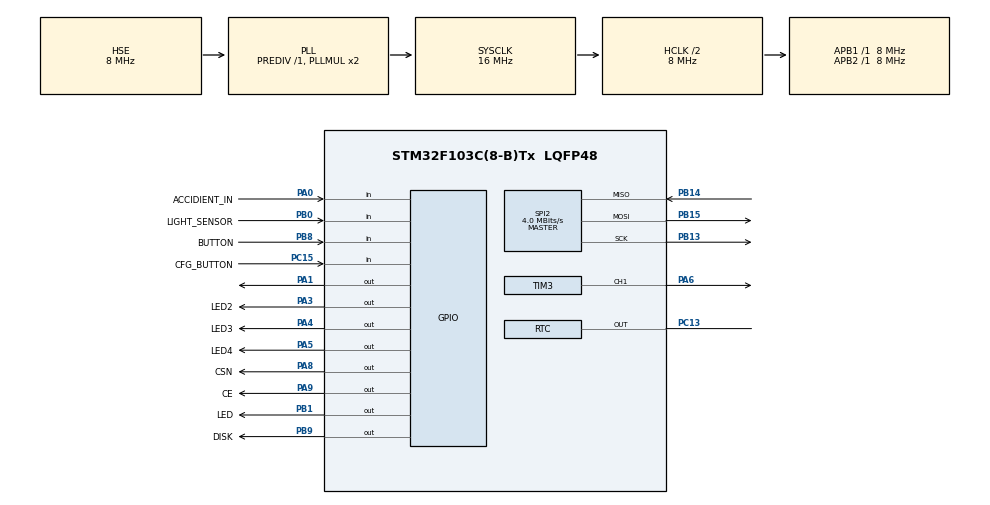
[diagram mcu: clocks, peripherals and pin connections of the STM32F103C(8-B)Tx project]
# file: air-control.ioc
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Mcu.Family=STM32F1
Mcu.Name=STM32F103C(8-B)Tx
Mcu.Package=LQFP48
NVIC.PriorityGroup=NVIC_PRIORITYGROUP_4
NVIC.RCC_IRQn=true\:0\:0\:false
NVIC.TIM3_IRQn=true\:0\:0\:false
PA0-WKUP.GPIO_Label=ACCIDIENT_IN
PA0-WKUP.GPIO_Mode=GPIO_MODE_INPUT
PA0-WKUP.GPIO_PuPd=GPIO_PULLDOWN
PA0-WKUP.Signal=GPIO_Input
PA1.GPIO_ModeDefaultOutputPP=GPIO_MODE_OUTPUT_PP
PA1.GPIO_Speed=GPIO_SPEED_LOW
PA1.Signal=GPIO_Output
PA13.Mode=Serial_Wire
PA13.Signal=SYS_JTMS-SWDIO
PA14.Mode=Serial_Wire
PA14.Signal=SYS_JTCK-SWCLK
PA3.GPIO_Label=LED2
PA3.GPIO_ModeDefaultOutputPP=GPIO_MODE_OUTPUT_PP
PA3.GPIO_Speed=GPIO_SPEED_LOW
PA3.Signal=GPIO_Output
PA4.GPIO_Label=LED3
PA4.GPIO_ModeDefaultOutputPP=GPIO_MODE_OUTPUT_PP
PA4.GPIO_Speed=GPIO_SPEED_LOW
PA4.Signal=GPIO_Output
PA5.GPIO_Label=LED4
PA5.GPIO_ModeDefaultOutputPP=GPIO_MODE_OUTPUT_PP
PA5.GPIO_Speed=GPIO_SPEED_LOW
PA5.Signal=GPIO_Output
PA6.GPIO_ModeDefaultPP=GPIO_MODE_AF_PP
PA6.GPIO_Speed=GPIO_SPEED_HIGH
PA6.Signal=S_TIM3_CH1
PA8.GPIO_Label=CSN
PA8.GPIO_ModeDefaultOutputPP=GPIO_MODE_OUTPUT_PP
PA8.GPIO_Speed=GPIO_SPEED_LOW
PA8.Signal=GPIO_Output
PA9.GPIO_Label=CE
PA9.GPIO_ModeDefaultOutputPP=GPIO_MODE_OUTPUT_PP
PA9.GPIO_Speed=GPIO_SPEED_LOW
PA9.Signal=GPIO_Output
PB0.GPIO_Label=LIGHT_SENSOR
PB0.GPIO_Mode=GPIO_MODE_INPUT
PB0.GPIO_PuPd=GPIO_NOPULL
PB0.Signal=GPIO_Input
PB1.GPIO_Label=LED
PB1.GPIO_ModeDefaultOutputPP=GPIO_MODE_OUTPUT_PP
PB1.GPIO_Speed=GPIO_SPEED_LOW
PB1.Signal=GPIO_Output
PB13.Mode=Full_Duplex_Master
PB13.Signal=SPI2_SCK
PB14.Mode=Full_Duplex_Master
PB14.Signal=SPI2_MISO
PB15.Mode=Full_Duplex_Master
PB15.Signal=SPI2_MOSI
PB8.GPIO_Label=BUTTON
PB8.GPIO_Mode=GPIO_MODE_INPUT
PB8.GPIO_PuPd=GPIO_NOPULL
PB8.Signal=GPIO_Input
PB9.GPIO_Label=DISK
PB9.GPIO_ModeDefaultOutputPP=GPIO_MODE_OUTPUT_OD
PB9.GPIO_Speed=GPIO_SPEED_LOW
PB9.Signal=GPIO_Output
PC13-TAMPER-RTC.Mode=RTC OUT
PC13-TAMPER-RTC.Signal=RTC_OUT
PC15-OSC32_OUT.GPIO_Label=CFG_BUTTON
PC15-OSC32_OUT.GPIO_Mode=GPIO_MODE_INPUT
PC15-OSC32_OUT.GPIO_PuPd=GPIO_PULLUP
PC15-OSC32_OUT.Signal=GPIO_Input
PD0-OSC_IN.Mode=HSE-External-Oscillator
PD0-OSC_IN.Signal=RCC_OSC_IN
PD1-OSC_OUT.Mode=HSE-External-Oscillator
PD1-OSC_OUT.Signal=RCC_OSC_OUT
ProjectManager.TargetToolchain=MDK-ARM V5
RCC.ADCPresc=RCC_ADCPCLK2_DIV6
RCC.AHBCLKDivider=RCC_SYSCLK_DIV2
RCC.AHBFreq_Value=8000000
RCC.APB1Freq_Value=8000000
RCC.APB1TimFreq_Value=8000000
RCC.APB2Freq_Value=8000000
RCC.APB2TimFreq_Value=8000000
RCC.HCLKFreq_Value=8000000
RCC.PLLSource=RCC_PLLSOURCE_HSE
RCC.PLLSourceVirtual=RCC_PLLSOURCE_HSE
RCC.SYSCLKFreq_VALUE=16000000
RCC.SYSCLKSource=RCC_SYSCLKSOURCE_PLLCLK
RCC.USBFreq_Value=16000000
RCC.VDD_VALUE=3.3
SH.S_TIM3_CH1.0=TIM3_CH1,PWM Generation1 CH1
SPI2.BaudRatePrescaler=SPI_BAUDRATEPRESCALER_2
SPI2.CalculateBaudRate=4.0 MBits/s
SPI2.Mode=SPI_MODE_MASTER
TIM3.OCMode_PWM-PWM\ Generation1\ CH1=TIM_OCMODE_PWM1
TIM3.Period=65535
TIM3.Prescaler=0
TIM3.Pulse-PWM\ Generation1\ CH1=0
VP_TIM3_VS_ClockSourceINT.Mode=Internal

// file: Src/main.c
/**
  ******************************************************************************
  * File Name          : main.c
  * Date               : 15/12/2015 22:57:21
  * Description        : Main program body
  ******************************************************************************
  *
  * COPYRIGHT(c) 2015 STMicroelectronics
  *
  * Redistribution and use in source and binary forms, with or without modification,
  * are permitted provided that the following conditions are met:
  *   1. Redistributions of source code must retain the above copyright notice,
  *      this list of conditions and the following disclaimer.
  *   2. Redistributions in binary form must reproduce the above copyright notice,
  *      this list of conditions and the following disclaimer in the documentation
  *      and/or other materials provided with the distribution.
  *   3. Neither the name of STMicroelectronics nor the names of its contributors
  *      may be used to endorse or promote products derived from this software
  *      without specific prior written permission.
  *
  * THIS SOFTWARE IS PROVIDED BY THE COPYRIGHT HOLDERS AND CONTRIBUTORS "AS IS"
  * AND ANY EXPRESS OR IMPLIED WARRANTIES, INCLUDING, BUT NOT LIMITED TO, THE
  * IMPLIED WARRANTIES OF MERCHANTABILITY AND FITNESS FOR A PARTICULAR PURPOSE ARE
  * DISCLAIMED. IN NO EVENT SHALL THE COPYRIGHT HOLDER OR CONTRIBUTORS BE LIABLE
  * FOR ANY DIRECT, INDIRECT, INCIDENTAL, SPECIAL, EXEMPLARY, OR CONSEQUENTIAL
  * DAMAGES (INCLUDING, BUT NOT LIMITED TO, PROCUREMENT OF SUBSTITUTE GOODS OR
  * SERVICES; LOSS OF USE, DATA, OR PROFITS; OR BUSINESS INTERRUPTION) HOWEVER
  * CAUSED AND ON ANY THEORY OF LIABILITY, WHETHER IN CONTRACT, STRICT LIABILITY,
  * OR TORT (INCLUDING NEGLIGENCE OR OTHERWISE) ARISING IN ANY WAY OUT OF THE USE
  * OF THIS SOFTWARE, EVEN IF ADVISED OF THE POSSIBILITY OF SUCH DAMAGE.
  *
  ******************************************************************************
  */

#include "stm32f1xx_hal.h"

/* USER CODE BEGIN Includes */
#include "nrf24.h"
#include "aes.h"
#include <stdio.h>
#include <stdlib.h>
#include "encrypted_block.h"
#include "nrf24_address_cfg.h"
/* USER CODE END Includes */

RTC_HandleTypeDef hrtc;

SPI_HandleTypeDef hspi2;

TIM_HandleTypeDef htim3;

void SystemClock_Config(void);
static void MX_GPIO_Init(void);
static void MX_RTC_Init(void);
static void MX_SPI2_Init(void);
static void MX_TIM3_Init(void);

/* USER CODE BEGIN 0 */

void deinit()
{
	GPIO_InitTypeDef GPIO_InitStruct;

  GPIO_InitStruct.Pin = GPIO_PIN_0|GPIO_PIN_1|GPIO_PIN_2|GPIO_PIN_3|GPIO_PIN_4
												|GPIO_PIN_5|GPIO_PIN_6|GPIO_PIN_7|GPIO_PIN_8
                        |GPIO_PIN_9|GPIO_PIN_10|GPIO_PIN_11|GPIO_PIN_12
                        |GPIO_PIN_13|GPIO_PIN_14|GPIO_PIN_15;
  GPIO_InitStruct.Mode = GPIO_MODE_ANALOG;
  HAL_GPIO_Init(GPIOA, &GPIO_InitStruct);
	HAL_GPIO_Init(GPIOB, &GPIO_InitStruct);
	HAL_GPIO_Init(GPIOC, &GPIO_InitStruct);
}

aes128_ctx_t AES_ctx;

uint8_t phrase[16];

typedef struct QMTT_Message
{
	char * topic;
	char * value;
} QMTT_Message;

QMTT_Message QMTT_Get(EncryptedBlock * encryptedBlock)
{
	int topic_len=strlen((char*)encryptedBlock->data);
	char * value=(char*)encryptedBlock->data+topic_len+1;

	QMTT_Message message;
	message.topic=(char*)encryptedBlock->data;
	message.value=value;

	return message;
}

const static uint8_t deviceId=1;
static uint8_t UD1_address[5] =  {deviceId,0xF7,0xF7,0xF7,0xF7};
static uint32_t switches_states;
static uint32_t switches_count=4;

static uint16_t dimmer_values[1] = {0};
static uint32_t dimmers_count=1;

static uint8_t sun_mode=0; //0 - off, 1 - sunrise, 2 - sunset

#define ON_QMTT_string "ON"
#define OFF_QMTT_string "OFF"
#define SWITCH_QMTT_string "UD"
#define DIMMER_QMTT_string "DM"
#define SUN_QMTT_string "SN"

static char in_topic[]="/myhome/in";
static char out_topic[]="/myhome/out";

typedef struct
{
	GPIO_TypeDef* GPIOx;
	uint16_t GPIO_Pin;
} SwitchPinAdress;

static SwitchPinAdress switchesMap[32]=
{
	{GPIOB,GPIO_PIN_1},
	{GPIOA,GPIO_PIN_3},
	{GPIOA,GPIO_PIN_4},
	{GPIOA,GPIO_PIN_5}

};

uint64_t getXPow(uint64_t x)
{
	uint64_t temp_val=x*x*x>>32;

	if(x>0 && temp_val==0)return 1;
	return temp_val;
}

void refreshHardwareState()
{
	for(int i=0;i<switches_count;i++)
	{
		GPIO_PinState pinstate;
		if(1&(switches_states>>i)){
			pinstate=GPIO_PIN_SET;
		}else{
			pinstate=GPIO_PIN_RESET;
		};

		HAL_GPIO_WritePin(switchesMap[i].GPIOx, switchesMap[i].GPIO_Pin, pinstate);
	}

	if(dimmers_count>0){
		TIM3->CCR1=getXPow(dimmer_values[0]);
	}

}

void sendSwitchStateToQMTTServer(const char * param, uint8_t switch_no, uint8_t value)
{
		char topic[32];
		char message_on[]=ON_QMTT_string;
		char message_off[]=OFF_QMTT_string;
		char * message;

		sprintf(topic, "%s%d_%d", param, deviceId, switch_no);
		if(value){
			message=message_on;
		}else{
			message=message_off;
		};

		QMTT_SendTextMessage(topic, message, UD1_address, &AES_ctx);
}

void sendDimerStateToQMTTServer(const char * param, uint8_t dimmer_no, uint16_t value)
{
		char topic[32];
		char message[32];
		sprintf(topic, "%s%d_%d", param, deviceId, dimmer_no);
		sprintf(message, "%d", value);
		QMTT_SendTextMessage(topic, message, UD1_address, &AES_ctx);
}

void sendFullStatesToQMTTServer()
{
	QMTT_SendOutTopic(out_topic, UD1_address, &AES_ctx);
	QMTT_SendInTopic(in_topic, UD1_address, &AES_ctx);

	for(int i=0;i<switches_count;i++)
	{
		sendSwitchStateToQMTTServer(SWITCH_QMTT_string, i, (switches_states>>i)&1);
	}

	for(int i=0;i<dimmers_count;i++)
	{
		sendDimerStateToQMTTServer(DIMMER_QMTT_string, i, dimmer_values[i]*100/65535 );
	}

	sendSwitchStateToQMTTServer(SUN_QMTT_string, 0, sun_mode);
	nrf24_powerUpRx();

}

void interpretateQMTTMessage(char * topic, char * value)
{
	char temp[32];

	for(int i=0;i<switches_count;i++)
	{
		sprintf(temp, "%s%d_%d", SWITCH_QMTT_string, deviceId, i);
		if(strcmp(topic, temp)==0)
		{
			if(strcmp(value, ON_QMTT_string)==0)
			{
				switches_states|=(1<<i);
			}
			else if(strcmp(value, OFF_QMTT_string)==0)
			{
				switches_states&=~(1<<i);
			}
		}
	}

	for(int i=0;i<dimmers_count;i++)
	{
		sprintf(temp, "%s%d_%d", DIMMER_QMTT_string, deviceId, i);

		if(strcmp(topic, temp)==0)
		{
			uint16_t val=atoi(value);
			dimmer_values[i]=65535*val/100;
		}
	}

	char temp2[32];
	sprintf(temp2, "%s%d_0", SUN_QMTT_string, deviceId);

	if(strcmp(topic, temp2)==0)
	{
		if(strcmp(value, ON_QMTT_string)==0)
		{
			sun_mode=1;
		}
		else if(strcmp(value, OFF_QMTT_string)==0)
		{
			sun_mode=2;
		}
	}
}

uint16_t mod(int32_t v1)
{
	if(v1<0)return -v1;
	return v1;
}

/* USER CODE END 0 */

int main(void)
{

  /* MCU Configuration----------------------------------------------------------*/

  /* Reset of all peripherals, Initializes the Flash interface and the Systick. */
  HAL_Init();

  /* Configure the system clock */
  SystemClock_Config();

  /* Initialize all configured peripherals */
  MX_GPIO_Init();
  MX_RTC_Init();
  MX_SPI2_Init();
  MX_TIM3_Init();
  /* USER CODE BEGIN 2 */

	aes128_init(AES_key, &AES_ctx);

	nrf24_init(&hspi2);
	nrf24_config(99,32);

	nrf24_rx_address(RX_ADDR_P1, UD1_address);
	nrf24_tx_address(openhab_gate_address_pipe1);

	uint32_t last_MQTT_send=0;

	HAL_TIM_Base_Start(&htim3);
	HAL_TIM_PWM_Start(&htim3, TIM_CHANNEL_1);

	nrf24_powerUpRx();

	uint32_t last_dimmer_operation=HAL_GetTick();

	uint16_t last_dimmer_val=0;

  /* USER CODE END 2 */

  /* Infinite loop */
  /* USER CODE BEGIN WHILE */
  while (1)
  {
		uint32_t cut_tick=HAL_GetTick();

		if(cut_tick-last_dimmer_operation>30)
		{
			last_dimmer_operation=cut_tick;

			if(sun_mode==1)
			{
				if(dimmer_values[0]==0xffff){
					sun_mode=0;
				}
				else{
					dimmer_values[0]+=1;
				}
			}
			if(sun_mode==2)
			{
				if(dimmer_values[0]==0){
					sun_mode=0;
				}else{
					dimmer_values[0]-=1;
				}
			}
		}

		if(mod(last_dimmer_val-dimmer_values[0])>6553 || (dimmer_values[0]==0xffff && last_dimmer_val-dimmer_values[0]!=0) || (dimmer_values[0]==0 && last_dimmer_val-dimmer_values[0]!=0))
		{
			last_dimmer_val=dimmer_values[0];

			for(int i=0;i<dimmers_count;i++)
			{
				sendDimerStateToQMTTServer(DIMMER_QMTT_string, i, dimmer_values[i]*100/65535 );
			}
			nrf24_powerUpRx();
		}

		if((cut_tick-last_MQTT_send>60000)||(last_MQTT_send==0))
		{
			last_MQTT_send=cut_tick;
			sendFullStatesToQMTTServer();
		}

		if(HAL_GPIO_ReadPin(GPIOB, GPIO_PIN_8)==GPIO_PIN_SET) //onboard button pressed
		{
			char temp[32];
			sprintf(temp, "%s%d_0", SWITCH_QMTT_string, deviceId);
			if(HAL_GPIO_ReadPin(GPIOB, GPIO_PIN_1)==GPIO_PIN_SET)
			{
				QMTT_SendTextMessage(temp, OFF_QMTT_string, UD1_address, &AES_ctx);
				interpretateQMTTMessage(temp, OFF_QMTT_string);
			}
			else
			{
				QMTT_SendTextMessage(temp, ON_QMTT_string, UD1_address, &AES_ctx);
				interpretateQMTTMessage(temp, ON_QMTT_string);
			}

			while((HAL_GPIO_ReadPin(GPIOB, GPIO_PIN_8)==GPIO_PIN_SET)){};
		}

		if(nrf24_dataReady())
    {
			EncryptedBlock encryptedBlock;
			uint8_t pipeNo=nrf24_dataReadyPipeNo();
			nrf24_getData((uint8_t*)&encryptedBlock);
			aes128_dec((uint8_t*)&encryptedBlock, &AES_ctx);
			aes128_dec((uint8_t*)&encryptedBlock+16, &AES_ctx);

			QMTT_Message qmtt_message=QMTT_Get(&encryptedBlock);

			interpretateQMTTMessage(qmtt_message.topic, qmtt_message.value);
		}

		refreshHardwareState();

  /* USER CODE END WHILE */

  }

}

/** System Clock Configuration
*/
void SystemClock_Config(void)
{

  RCC_OscInitTypeDef RCC_OscInitStruct;
  RCC_ClkInitTypeDef RCC_ClkInitStruct;
  RCC_PeriphCLKInitTypeDef PeriphClkInit;

  RCC_OscInitStruct.OscillatorType = RCC_OSCILLATORTYPE_LSI|RCC_OSCILLATORTYPE_HSE;
  RCC_OscInitStruct.HSEState = RCC_HSE_ON;
  RCC_OscInitStruct.HSEPredivValue = RCC_HSE_PREDIV_DIV1;
  RCC_OscInitStruct.LSIState = RCC_LSI_ON;
  RCC_OscInitStruct.PLL.PLLState = RCC_PLL_ON;
  RCC_OscInitStruct.PLL.PLLSource = RCC_PLLSOURCE_HSE;
  RCC_OscInitStruct.PLL.PLLMUL = RCC_PLL_MUL2;
  HAL_RCC_OscConfig(&RCC_OscInitStruct);

  RCC_ClkInitStruct.ClockType = RCC_CLOCKTYPE_HCLK|RCC_CLOCKTYPE_SYSCLK;
  RCC_ClkInitStruct.SYSCLKSource = RCC_SYSCLKSOURCE_PLLCLK;
  RCC_ClkInitStruct.AHBCLKDivider = RCC_SYSCLK_DIV2;
  RCC_ClkInitStruct.APB1CLKDivider = RCC_HCLK_DIV1;
  RCC_ClkInitStruct.APB2CLKDivider = RCC_HCLK_DIV1;
  HAL_RCC_ClockConfig(&RCC_ClkInitStruct, FLASH_LATENCY_0);

  PeriphClkInit.PeriphClockSelection = RCC_PERIPHCLK_RTC;
  PeriphClkInit.RTCClockSelection = RCC_RTCCLKSOURCE_LSI;
  HAL_RCCEx_PeriphCLKConfig(&PeriphClkInit);

}

/* RTC init function */
void MX_RTC_Init(void)
{

  RTC_TimeTypeDef sTime;
  RTC_DateTypeDef DateToUpdate;

    /**Initialize RTC and set the Time and Date
    */
  hrtc.Instance = RTC;
  hrtc.Init.AsynchPrediv = RTC_AUTO_1_SECOND;
  hrtc.Init.OutPut = RTC_OUTPUTSOURCE_NONE;
  hrtc.DateToUpdate.WeekDay = RTC_WEEKDAY_MONDAY;
  hrtc.DateToUpdate.Month = RTC_MONTH_JANUARY;
  hrtc.DateToUpdate.Date = 1;
  hrtc.DateToUpdate.Year = 0;
  HAL_RTC_Init(&hrtc);

  sTime.Hours = 0;
  sTime.Minutes = 0;
  sTime.Seconds = 0;
  HAL_RTC_SetTime(&hrtc, &sTime, FORMAT_BCD);

  HAL_RTC_SetDate(&hrtc, &DateToUpdate, FORMAT_BCD);

}

/* SPI2 init function */
void MX_SPI2_Init(void)
{

  hspi2.Instance = SPI2;
  hspi2.Init.Mode = SPI_MODE_MASTER;
  hspi2.Init.Direction = SPI_DIRECTION_2LINES;
  hspi2.Init.DataSize = SPI_DATASIZE_8BIT;
  hspi2.Init.CLKPolarity = SPI_POLARITY_LOW;
  hspi2.Init.CLKPhase = SPI_PHASE_1EDGE;
  hspi2.Init.NSS = SPI_NSS_SOFT;
  hspi2.Init.BaudRatePrescaler = SPI_BAUDRATEPRESCALER_2;
  hspi2.Init.FirstBit = SPI_FIRSTBIT_MSB;
  hspi2.Init.TIMode = SPI_TIMODE_DISABLED;
  hspi2.Init.CRCCalculation = SPI_CRCCALCULATION_DISABLED;
  HAL_SPI_Init(&hspi2);

}

/* TIM3 init function */
void MX_TIM3_Init(void)
{

  TIM_ClockConfigTypeDef sClockSourceConfig;
  TIM_MasterConfigTypeDef sMasterConfig;
  TIM_OC_InitTypeDef sConfigOC;

  htim3.Instance = TIM3;
  htim3.Init.Prescaler = 0;
  htim3.Init.CounterMode = TIM_COUNTERMODE_UP;
  htim3.Init.Period = 65535;
  htim3.Init.ClockDivision = TIM_CLOCKDIVISION_DIV1;
  HAL_TIM_Base_Init(&htim3);

  sClockSourceConfig.ClockSource = TIM_CLOCKSOURCE_INTERNAL;
  HAL_TIM_ConfigClockSource(&htim3, &sClockSourceConfig);

  HAL_TIM_PWM_Init(&htim3);

  sMasterConfig.MasterOutputTrigger = TIM_TRGO_RESET;
  sMasterConfig.MasterSlaveMode = TIM_MASTERSLAVEMODE_DISABLE;
  HAL_TIMEx_MasterConfigSynchronization(&htim3, &sMasterConfig);

  sConfigOC.OCMode = TIM_OCMODE_PWM1;
  sConfigOC.Pulse = 0;
  sConfigOC.OCPolarity = TIM_OCPOLARITY_HIGH;
  sConfigOC.OCFastMode = TIM_OCFAST_DISABLE;
  HAL_TIM_PWM_ConfigChannel(&htim3, &sConfigOC, TIM_CHANNEL_1);

}

/** Configure pins as
        * Analog
        * Input
        * Output
        * EVENT_OUT
        * EXTI
        * Free pins are configured automatically as Analog (this feature is enabled through
        * the Code Generation settings)
*/
void MX_GPIO_Init(void)
{

  GPIO_InitTypeDef GPIO_InitStruct;

  /* GPIO Ports Clock Enable */
  __GPIOC_CLK_ENABLE();
  __GPIOD_CLK_ENABLE();
  __GPIOA_CLK_ENABLE();
  __GPIOB_CLK_ENABLE();

  /*Configure GPIO pin : PC14 */
  GPIO_InitStruct.Pin = GPIO_PIN_14;
  GPIO_InitStruct.Mode = GPIO_MODE_ANALOG;
  HAL_GPIO_Init(GPIOC, &GPIO_InitStruct);

  /*Configure GPIO pin : PC15 */
  GPIO_InitStruct.Pin = GPIO_PIN_15;
  GPIO_InitStruct.Mode = GPIO_MODE_INPUT;
  GPIO_InitStruct.Pull = GPIO_PULLUP;
  HAL_GPIO_Init(GPIOC, &GPIO_InitStruct);

  /*Configure GPIO pin : PA0 */
  GPIO_InitStruct.Pin = GPIO_PIN_0;
  GPIO_InitStruct.Mode = GPIO_MODE_INPUT;
  GPIO_InitStruct.Pull = GPIO_PULLDOWN;
  HAL_GPIO_Init(GPIOA, &GPIO_InitStruct);

  /*Configure GPIO pins : PA1 PA3 PA4 PA5
                           PA8 PA9 */
  GPIO_InitStruct.Pin = GPIO_PIN_1|GPIO_PIN_3|GPIO_PIN_4|GPIO_PIN_5
                          |GPIO_PIN_8|GPIO_PIN_9;
  GPIO_InitStruct.Mode = GPIO_MODE_OUTPUT_PP;
  GPIO_InitStruct.Speed = GPIO_SPEED_LOW;
  HAL_GPIO_Init(GPIOA, &GPIO_InitStruct);

  /*Configure GPIO pins : PA2 PA7 PA10 PA11
                           PA12 PA15 */
  GPIO_InitStruct.Pin = GPIO_PIN_2|GPIO_PIN_7|GPIO_PIN_10|GPIO_PIN_11
                          |GPIO_PIN_12|GPIO_PIN_15;
  GPIO_InitStruct.Mode = GPIO_MODE_ANALOG;
  HAL_GPIO_Init(GPIOA, &GPIO_InitStruct);

  /*Configure GPIO pins : PB0 PB8 */
  GPIO_InitStruct.Pin = GPIO_PIN_0|GPIO_PIN_8;
  GPIO_InitStruct.Mode = GPIO_MODE_INPUT;
  GPIO_InitStruct.Pull = GPIO_NOPULL;
  HAL_GPIO_Init(GPIOB, &GPIO_InitStruct);

  /*Configure GPIO pin : PB1 */
  GPIO_InitStruct.Pin = GPIO_PIN_1;
  GPIO_InitStruct.Mode = GPIO_MODE_OUTPUT_PP;
  GPIO_InitStruct.Speed = GPIO_SPEED_LOW;
  HAL_GPIO_Init(GPIOB, &GPIO_InitStruct);

  /*Configure GPIO pins : PB2 PB10 PB11 PB12
                           PB3 PB4 PB5 PB6
                           PB7 */
  GPIO_InitStruct.Pin = GPIO_PIN_2|GPIO_PIN_10|GPIO_PIN_11|GPIO_PIN_12
                          |GPIO_PIN_3|GPIO_PIN_4|GPIO_PIN_5|GPIO_PIN_6
                          |GPIO_PIN_7;
  GPIO_InitStruct.Mode = GPIO_MODE_ANALOG;
  HAL_GPIO_Init(GPIOB, &GPIO_InitStruct);

  /*Configure GPIO pin : PB9 */
  GPIO_InitStruct.Pin = GPIO_PIN_9;
  GPIO_InitStruct.Mode = GPIO_MODE_OUTPUT_OD;
  GPIO_InitStruct.Speed = GPIO_SPEED_LOW;
  HAL_GPIO_Init(GPIOB, &GPIO_InitStruct);

}

/************************ (C) COPYRIGHT STMicroelectronics *****END OF FILE****/
